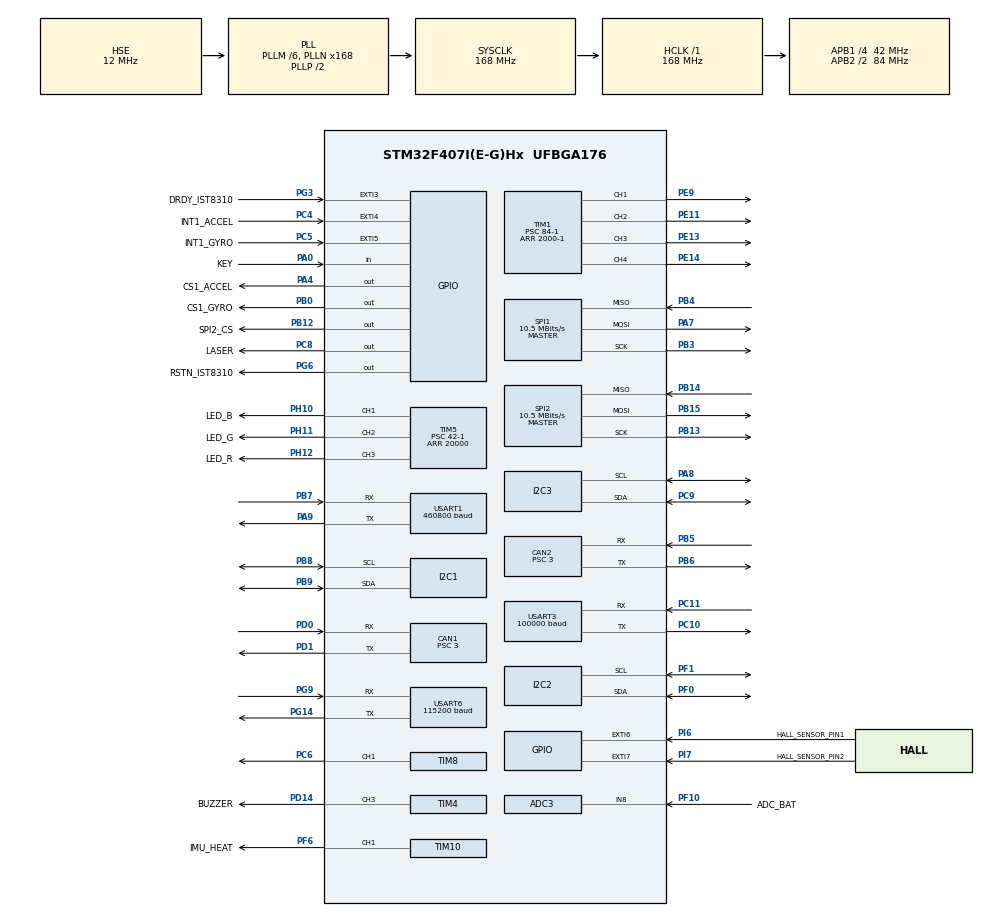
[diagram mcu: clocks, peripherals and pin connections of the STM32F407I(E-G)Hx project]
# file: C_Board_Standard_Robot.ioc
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ADC1.Channel-0\#ChannelRegularConversion=ADC_CHANNEL_TEMPSENSOR
ADC1.ClockPrescaler=ADC_CLOCK_SYNC_PCLK_DIV6
ADC1.NbrOfConversionFlag=1
ADC1.Rank-0\#ChannelRegularConversion=1
ADC1.SamplingTime-0\#ChannelRegularConversion=ADC_SAMPLETIME_3CYCLES
ADC1.master=1
ADC3.Channel-0\#ChannelRegularConversion=ADC_CHANNEL_8
ADC3.ClockPrescaler=ADC_CLOCK_SYNC_PCLK_DIV6
ADC3.NbrOfConversionFlag=1
ADC3.Rank-0\#ChannelRegularConversion=1
ADC3.SamplingTime-0\#ChannelRegularConversion=ADC_SAMPLETIME_3CYCLES
CAN1.BS1=CAN_BS1_10TQ
CAN1.BS2=CAN_BS2_3TQ
CAN1.CalculateTimeQuantum=71.42857142857143
CAN1.Prescaler=3
CAN2.BS1=CAN_BS1_10TQ
CAN2.BS2=CAN_BS2_3TQ
CAN2.CalculateTimeQuantum=71.42857142857143
CAN2.Prescaler=3
Dma.I2C2_TX.2.Direction=DMA_MEMORY_TO_PERIPH
Dma.I2C2_TX.2.FIFOMode=DMA_FIFOMODE_DISABLE
Dma.I2C2_TX.2.Instance=DMA1_Stream7
Dma.I2C2_TX.2.MemDataAlignment=DMA_MDATAALIGN_BYTE
Dma.I2C2_TX.2.MemInc=DMA_MINC_ENABLE
Dma.I2C2_TX.2.Mode=DMA_NORMAL
Dma.I2C2_TX.2.PeriphDataAlignment=DMA_PDATAALIGN_BYTE
Dma.I2C2_TX.2.PeriphInc=DMA_PINC_DISABLE
Dma.I2C2_TX.2.Priority=DMA_PRIORITY_HIGH
Dma.Request0=SPI1_RX
Dma.Request1=SPI1_TX
Dma.Request2=I2C2_TX
Dma.Request3=USART3_RX
Dma.Request4=USART6_TX
Dma.Request5=USART1_TX
Dma.Request6=USART1_RX
Dma.Request7=USART6_RX
Dma.SPI1_RX.0.Direction=DMA_PERIPH_TO_MEMORY
Dma.SPI1_RX.0.FIFOMode=DMA_FIFOMODE_DISABLE
Dma.SPI1_RX.0.Instance=DMA2_Stream2
Dma.SPI1_RX.0.MemDataAlignment=DMA_MDATAALIGN_BYTE
Dma.SPI1_RX.0.MemInc=DMA_MINC_ENABLE
Dma.SPI1_RX.0.Mode=DMA_NORMAL
Dma.SPI1_RX.0.PeriphDataAlignment=DMA_PDATAALIGN_BYTE
Dma.SPI1_RX.0.PeriphInc=DMA_PINC_DISABLE
Dma.SPI1_RX.0.Priority=DMA_PRIORITY_VERY_HIGH
Dma.SPI1_TX.1.Direction=DMA_MEMORY_TO_PERIPH
Dma.SPI1_TX.1.FIFOMode=DMA_FIFOMODE_DISABLE
Dma.SPI1_TX.1.Instance=DMA2_Stream3
Dma.SPI1_TX.1.MemDataAlignment=DMA_MDATAALIGN_BYTE
Dma.SPI1_TX.1.MemInc=DMA_MINC_ENABLE
Dma.SPI1_TX.1.Mode=DMA_NORMAL
Dma.SPI1_TX.1.PeriphDataAlignment=DMA_PDATAALIGN_BYTE
Dma.SPI1_TX.1.PeriphInc=DMA_PINC_DISABLE
Dma.SPI1_TX.1.Priority=DMA_PRIORITY_HIGH
Dma.USART1_RX.6.Direction=DMA_PERIPH_TO_MEMORY
Dma.USART1_RX.6.FIFOMode=DMA_FIFOMODE_DISABLE
Dma.USART1_RX.6.Instance=DMA2_Stream5
Dma.USART1_RX.6.MemDataAlignment=DMA_MDATAALIGN_BYTE
Dma.USART1_RX.6.MemInc=DMA_MINC_ENABLE
Dma.USART1_RX.6.Mode=DMA_CIRCULAR
Dma.USART1_RX.6.PeriphDataAlignment=DMA_PDATAALIGN_BYTE
Dma.USART1_RX.6.PeriphInc=DMA_PINC_DISABLE
Dma.USART1_RX.6.Priority=DMA_PRIORITY_LOW
Dma.USART1_TX.5.Direction=DMA_MEMORY_TO_PERIPH
Dma.USART1_TX.5.FIFOMode=DMA_FIFOMODE_DISABLE
Dma.USART1_TX.5.Instance=DMA2_Stream7
Dma.USART1_TX.5.MemDataAlignment=DMA_MDATAALIGN_BYTE
Dma.USART1_TX.5.MemInc=DMA_MINC_ENABLE
Dma.USART1_TX.5.Mode=DMA_NORMAL
Dma.USART1_TX.5.PeriphDataAlignment=DMA_PDATAALIGN_BYTE
Dma.USART1_TX.5.PeriphInc=DMA_PINC_DISABLE
Dma.USART1_TX.5.Priority=DMA_PRIORITY_MEDIUM
Dma.USART3_RX.3.Direction=DMA_PERIPH_TO_MEMORY
Dma.USART3_RX.3.FIFOMode=DMA_FIFOMODE_DISABLE
Dma.USART3_RX.3.Instance=DMA1_Stream1
Dma.USART3_RX.3.MemDataAlignment=DMA_MDATAALIGN_BYTE
Dma.USART3_RX.3.MemInc=DMA_MINC_ENABLE
Dma.USART3_RX.3.Mode=DMA_CIRCULAR
Dma.USART3_RX.3.PeriphDataAlignment=DMA_PDATAALIGN_BYTE
Dma.USART3_RX.3.PeriphInc=DMA_PINC_DISABLE
Dma.USART3_RX.3.Priority=DMA_PRIORITY_HIGH
Dma.USART6_RX.7.Direction=DMA_PERIPH_TO_MEMORY
Dma.USART6_RX.7.FIFOMode=DMA_FIFOMODE_DISABLE
Dma.USART6_RX.7.Instance=DMA2_Stream1
Dma.USART6_RX.7.MemDataAlignment=DMA_MDATAALIGN_BYTE
Dma.USART6_RX.7.MemInc=DMA_MINC_ENABLE
Dma.USART6_RX.7.Mode=DMA_CIRCULAR
Dma.USART6_RX.7.PeriphDataAlignment=DMA_PDATAALIGN_BYTE
Dma.USART6_RX.7.PeriphInc=DMA_PINC_DISABLE
Dma.USART6_RX.7.Priority=DMA_PRIORITY_LOW
Dma.USART6_TX.4.Direction=DMA_MEMORY_TO_PERIPH
Dma.USART6_TX.4.FIFOMode=DMA_FIFOMODE_DISABLE
Dma.USART6_TX.4.Instance=DMA2_Stream6
Dma.USART6_TX.4.MemDataAlignment=DMA_MDATAALIGN_BYTE
Dma.USART6_TX.4.MemInc=DMA_MINC_ENABLE
Dma.USART6_TX.4.Mode=DMA_NORMAL
Dma.USART6_TX.4.PeriphDataAlignment=DMA_PDATAALIGN_BYTE
Dma.USART6_TX.4.PeriphInc=DMA_PINC_DISABLE
Dma.USART6_TX.4.Priority=DMA_PRIORITY_MEDIUM
FREERTOS.INCLUDE_eTaskGetState=1
FREERTOS.INCLUDE_pcTaskGetTaskName=1
FREERTOS.INCLUDE_uxTaskGetStackHighWaterMark=1
FREERTOS.INCLUDE_vTaskCleanUpResources=1
FREERTOS.INCLUDE_vTaskDelayUntil=1
FREERTOS.INCLUDE_xEventGroupSetBitFromISR=1
FREERTOS.INCLUDE_xQueueGetMutexHolder=1
FREERTOS.INCLUDE_xSemaphoreGetMutexHolder=1
FREERTOS.INCLUDE_xTaskAbortDelay=1
FREERTOS.INCLUDE_xTaskGetCurrentTaskHandle=1
FREERTOS.INCLUDE_xTaskGetHandle=1
FREERTOS.INCLUDE_xTimerPendFunctionCall=1
FREERTOS.Tasks01=GimbalTask,2,512,StartGimbalTask,Default,NULL,Dynamic,NULL,NULL;INSTask,1,512,StartINSTask,Default,NULL,Dynamic,NULL,NULL;DetectTask,-1,512,StartDetectTask,Default,NULL,Dynamic,NULL,NULL;PowerMeasureTas,0,512,StartPowerMeasureTask,Default,NULL,Dynamic,NULL,NULL;UITask,0,512,StartUITask,Default,NULL,Dynamic,NULL,NULL;ChassisTask,1,512,StartChassisTask,Default,NULL,Dynamic,NULL,NULL
FREERTOS.configTOTAL_HEAP_SIZE=24576
I2C1.I2C_Mode=I2C_Fast
I2C2.I2C_Mode=I2C_Fast
I2C3.I2C_Mode=I2C_Fast
IWDG.Prescaler=IWDG_PRESCALER_32
IWDG.Reload=1000
Mcu.Family=STM32F4
Mcu.Name=STM32F407I(E-G)Hx
Mcu.Package=UFBGA176
NVIC.CAN1_RX0_IRQn=true\:6\:0\:true\:false\:true\:true\:true\:true
NVIC.CAN2_RX0_IRQn=true\:6\:0\:true\:false\:true\:true\:true\:true
NVIC.DMA1_Stream1_IRQn=true\:5\:0\:true\:false\:false\:true\:false\:false
NVIC.DMA1_Stream7_IRQn=true\:5\:0\:true\:false\:false\:true\:false\:true
NVIC.DMA2_Stream1_IRQn=true\:0\:0\:false\:false\:true\:true\:false\:true
NVIC.DMA2_Stream2_IRQn=true\:5\:0\:true\:false\:false\:true\:false\:true
NVIC.DMA2_Stream3_IRQn=true\:5\:0\:true\:false\:false\:true\:false\:true
NVIC.DMA2_Stream5_IRQn=true\:0\:0\:false\:false\:true\:true\:false\:true
NVIC.DMA2_Stream6_IRQn=true\:5\:0\:true\:false\:true\:true\:false\:true
NVIC.DMA2_Stream7_IRQn=true\:5\:0\:true\:false\:true\:true\:false\:true
NVIC.EXTI3_IRQn=true\:5\:0\:true\:false\:true\:true\:true\:true
NVIC.EXTI4_IRQn=true\:5\:0\:true\:false\:true\:true\:true\:true
NVIC.EXTI9_5_IRQn=true\:5\:0\:true\:false\:true\:true\:true\:true
NVIC.PriorityGroup=NVIC_PRIORITYGROUP_4
NVIC.TIM2_IRQn=true\:0\:0\:false\:false\:true\:false\:false\:true
NVIC.TimeBase=TIM2_IRQn
NVIC.TimeBaseIP=TIM2
NVIC.USART1_IRQn=true\:0\:0\:false\:false\:true\:false\:true\:true
NVIC.USART3_IRQn=true\:4\:0\:true\:false\:true\:false\:true\:true
NVIC.USART6_IRQn=true\:5\:0\:true\:false\:true\:true\:true\:true
PA0-WKUP.GPIO_Label=KEY
PA0-WKUP.GPIO_PuPd=GPIO_PULLUP
PA0-WKUP.Signal=GPIO_Input
PA13.Mode=Serial_Wire
PA13.Signal=SYS_JTMS-SWDIO
PA14.Mode=Serial_Wire
PA14.Signal=SYS_JTCK-SWCLK
PA4.GPIO_Label=CS1_ACCEL
PA4.GPIO_PuPd=GPIO_PULLUP
PA4.GPIO_Speed=GPIO_SPEED_FREQ_HIGH
PA4.PinState=GPIO_PIN_SET
PA4.Signal=GPIO_Output
PA7.GPIO_PuPd=GPIO_PULLUP
PA7.Mode=Full_Duplex_Master
PA7.Signal=SPI1_MOSI
PA8.Mode=I2C
PA8.Signal=I2C3_SCL
PA9.Mode=Asynchronous
PA9.Signal=USART1_TX
PB0.GPIO_Label=CS1_GYRO
PB0.GPIO_PuPd=GPIO_PULLUP
PB0.GPIO_Speed=GPIO_SPEED_FREQ_HIGH
PB0.PinState=GPIO_PIN_SET
PB0.Signal=GPIO_Output
PB12.GPIO_Label=SPI2_CS
PB12.GPIO_PuPd=GPIO_PULLUP
PB12.GPIO_Speed=GPIO_SPEED_FREQ_MEDIUM
PB12.PinState=GPIO_PIN_SET
PB12.Signal=GPIO_Output
PB13.GPIO_PuPd=GPIO_PULLUP
PB13.Mode=Full_Duplex_Master
PB13.Signal=SPI2_SCK
PB14.GPIO_PuPd=GPIO_PULLUP
PB14.Mode=Full_Duplex_Master
PB14.Signal=SPI2_MISO
PB15.GPIO_PuPd=GPIO_PULLUP
PB15.Mode=Full_Duplex_Master
PB15.Signal=SPI2_MOSI
PB3.GPIO_PuPd=GPIO_PULLUP
PB3.Mode=Full_Duplex_Master
PB3.Signal=SPI1_SCK
PB4.GPIO_PuPd=GPIO_PULLUP
PB4.Mode=Full_Duplex_Master
PB4.Signal=SPI1_MISO
PB5.Mode=Slave
PB5.Signal=CAN2_RX
PB6.Mode=Slave
PB6.Signal=CAN2_TX
PB7.Mode=Asynchronous
PB7.Signal=USART1_RX
PB8.Mode=I2C
PB8.Signal=I2C1_SCL
PB9.Mode=I2C
PB9.Signal=I2C1_SDA
PC10.Mode=Asynchronous
PC10.Signal=USART3_TX
PC11.Mode=Asynchronous
PC11.Signal=USART3_RX
PC4.GPIO_Label=INT1_ACCEL
PC4.GPIO_ModeDefaultEXTI=GPIO_MODE_IT_FALLING
PC4.GPIO_PuPd=GPIO_PULLUP
PC4.Signal=GPXTI4
PC5.GPIO_Label=INT1_GYRO
PC5.GPIO_ModeDefaultEXTI=GPIO_MODE_IT_FALLING
PC5.GPIO_PuPd=GPIO_PULLUP
PC5.Signal=GPXTI5
PC6.GPIO_PuPd=GPIO_PULLUP
PC6.GPIO_Speed=GPIO_SPEED_FREQ_HIGH
PC6.Signal=S_TIM8_CH1
PC8.GPIO_Label=LASER
PC8.Signal=GPIO_Output
PC9.Mode=I2C
PC9.Signal=I2C3_SDA
PD0.Mode=Master
PD0.Signal=CAN1_RX
PD1.Mode=Master
PD1.Signal=CAN1_TX
PD14.GPIO_Label=BUZZER
PD14.GPIO_PuPd=GPIO_PULLUP
PD14.GPIO_Speed=GPIO_SPEED_FREQ_VERY_HIGH
PD14.Signal=S_TIM4_CH3
PE11.GPIO_PuPd=GPIO_PULLUP
PE11.GPIO_Speed=GPIO_SPEED_FREQ_HIGH
PE11.Signal=S_TIM1_CH2
PE13.GPIO_PuPd=GPIO_PULLUP
PE13.GPIO_Speed=GPIO_SPEED_FREQ_HIGH
PE13.Signal=S_TIM1_CH3
PE14.GPIO_PuPd=GPIO_PULLUP
PE14.GPIO_Speed=GPIO_SPEED_FREQ_HIGH
PE14.Signal=S_TIM1_CH4
PE9.GPIO_PuPd=GPIO_PULLUP
PE9.GPIO_Speed=GPIO_SPEED_FREQ_HIGH
PE9.Signal=S_TIM1_CH1
PF0.Mode=I2C
PF0.Signal=I2C2_SDA
PF1.Mode=I2C
PF1.Signal=I2C2_SCL
PF10.GPIO_Label=ADC_BAT
PF10.Mode=IN8
PF10.Signal=ADC3_IN8
PF6.GPIO_Label=IMU_HEAT
PF6.GPIO_PuPd=GPIO_PULLUP
PF6.GPIO_Speed=GPIO_SPEED_FREQ_HIGH
PF6.Signal=S_TIM10_CH1
PG14.Mode=Asynchronous
PG14.Signal=USART6_TX
PG3.GPIO_Label=DRDY_IST8310
PG3.GPIO_ModeDefaultEXTI=GPIO_MODE_IT_FALLING
PG3.GPIO_PuPd=GPIO_PULLUP
PG3.Signal=GPXTI3
PG6.GPIO_Label=RSTN_IST8310
PG6.GPIO_PuPd=GPIO_PULLUP
PG6.GPIO_Speed=GPIO_SPEED_FREQ_MEDIUM
PG6.PinState=GPIO_PIN_SET
PG6.Signal=GPIO_Output
PG9.Mode=Asynchronous
PG9.Signal=USART6_RX
PH0-OSC_IN.Mode=HSE-External-Oscillator
PH0-OSC_IN.Signal=RCC_OSC_IN
PH1-OSC_OUT.Mode=HSE-External-Oscillator
PH1-OSC_OUT.Signal=RCC_OSC_OUT
PH10.GPIO_Label=LED_B
PH10.GPIO_PuPd=GPIO_PULLUP
PH10.GPIO_Speed=GPIO_SPEED_FREQ_HIGH
PH10.Signal=S_TIM5_CH1
PH11.GPIO_Label=LED_G
PH11.GPIO_PuPd=GPIO_PULLUP
PH11.GPIO_Speed=GPIO_SPEED_FREQ_HIGH
PH11.Signal=S_TIM5_CH2
PH12.GPIO_Label=LED_R
PH12.GPIO_PuPd=GPIO_PULLUP
PH12.GPIO_Speed=GPIO_SPEED_FREQ_HIGH
PH12.Signal=S_TIM5_CH3
PI6.GPIO_Label=HALL_SENSOR_PIN1
PI6.Signal=GPXTI6
PI7.GPIO_Label=HALL_SENSOR_PIN2
PI7.Signal=GPXTI7
ProjectManager.HeapSize=0x2000
ProjectManager.StackSize=0x2000
ProjectManager.TargetToolchain=Makefile
RCC.48MHZClocksFreq_Value=48000000
RCC.AHBFreq_Value=168000000
RCC.APB1CLKDivider=RCC_HCLK_DIV4
RCC.APB1Freq_Value=42000000
RCC.APB1TimFreq_Value=84000000
RCC.APB2CLKDivider=RCC_HCLK_DIV2
RCC.APB2Freq_Value=84000000
RCC.APB2TimFreq_Value=168000000
RCC.CortexFreq_Value=168000000
RCC.HCLKFreq_Value=168000000
RCC.HSE_VALUE=12000000
RCC.HSI_VALUE=16000000
RCC.LSE_VALUE=32768
RCC.PLLM=6
RCC.PLLN=168
RCC.PLLQ=7
RCC.PLLSourceVirtual=RCC_PLLSOURCE_HSE
RCC.RCC_RTC_Clock_SourceVirtual=RCC_RTCCLKSOURCE_HSE_DIV30
RCC.RCC_RTC_Clock_Source_FROM_HSE=RCC_RTCCLKSOURCE_HSE_DIV30
RCC.SYSCLKFreq_VALUE=168000000
RCC.SYSCLKSource=RCC_SYSCLKSOURCE_PLLCLK
RCC.VCOOutputFreq_Value=336000000
SH.S_TIM10_CH1.0=TIM10_CH1,PWM Generation1 CH1
SH.S_TIM1_CH1.0=TIM1_CH1,PWM Generation1 CH1
SH.S_TIM1_CH2.0=TIM1_CH2,PWM Generation2 CH2
SH.S_TIM1_CH3.0=TIM1_CH3,PWM Generation3 CH3
SH.S_TIM1_CH4.0=TIM1_CH4,PWM Generation4 CH4
SH.S_TIM4_CH3.0=TIM4_CH3,PWM Generation3 CH3
SH.S_TIM5_CH1.0=TIM5_CH1,PWM Generation1 CH1
SH.S_TIM5_CH2.0=TIM5_CH2,PWM Generation2 CH2
SH.S_TIM5_CH3.0=TIM5_CH3,PWM Generation3 CH3
SH.S_TIM8_CH1.0=TIM8_CH1,PWM Generation1 CH1
SPI1.BaudRatePrescaler=SPI_BAUDRATEPRESCALER_8
SPI1.CLKPhase=SPI_PHASE_2EDGE
SPI1.CLKPolarity=SPI_POLARITY_HIGH
SPI1.CalculateBaudRate=10.5 MBits/s
SPI1.Direction=SPI_DIRECTION_2LINES
SPI1.Mode=SPI_MODE_MASTER
SPI1.VirtualType=VM_MASTER
SPI2.BaudRatePrescaler=SPI_BAUDRATEPRESCALER_4
SPI2.CLKPhase=SPI_PHASE_2EDGE
SPI2.CLKPolarity=SPI_POLARITY_HIGH
SPI2.CalculateBaudRate=10.5 MBits/s
SPI2.Direction=SPI_DIRECTION_2LINES
SPI2.Mode=SPI_MODE_MASTER
SPI2.VirtualType=VM_MASTER
TIM1.Channel-PWM\ Generation1\ CH1=TIM_CHANNEL_1
TIM1.Channel-PWM\ Generation2\ CH2=TIM_CHANNEL_2
TIM1.Channel-PWM\ Generation3\ CH3=TIM_CHANNEL_3
TIM1.Channel-PWM\ Generation4\ CH4=TIM_CHANNEL_4
TIM1.Period=2000-1
TIM1.Prescaler=84-1
TIM1.Pulse-PWM\ Generation1\ CH1=1000
TIM1.Pulse-PWM\ Generation2\ CH2=1000
TIM1.Pulse-PWM\ Generation3\ CH3=1000
TIM1.Pulse-PWM\ Generation4\ CH4=1000
TIM10.Channel=TIM_CHANNEL_1
TIM10.Period=2000-1
TIM10.Prescaler=84-1
TIM3.Period=8399
TIM4.Channel-PWM\ Generation3\ CH3=TIM_CHANNEL_3
TIM4.Period=20000-1
TIM4.Prescaler=42-1
TIM5.Channel-PWM\ Generation1\ CH1=TIM_CHANNEL_1
TIM5.Channel-PWM\ Generation2\ CH2=TIM_CHANNEL_2
TIM5.Channel-PWM\ Generation3\ CH3=TIM_CHANNEL_3
TIM5.Period=20000
TIM5.Prescaler=42-1
TIM8.Channel-PWM\ Generation1\ CH1=TIM_CHANNEL_1
TIM8.Period=20000-1
TIM8.Prescaler=89-1
TIM8.Pulse-PWM\ Generation1\ CH1=1000
USART1.BaudRate=460800
USART1.VirtualMode=VM_ASYNC
USART3.BaudRate=100000
USART3.Parity=PARITY_EVEN
USART3.VirtualMode=VM_ASYNC
USART6.BaudRate=115200
USART6.VirtualMode=VM_ASYNC
VP_ADC1_TempSens_Input.Mode=IN-TempSens
VP_ADC1_Vref_Input.Mode=IN-Vrefint
VP_FREERTOS_VS_CMSIS_V1.Mode=CMSIS_V1
VP_IWDG_VS_IWDG.Mode=IWDG_Activate
VP_SYS_VS_tim2.Mode=TIM2
VP_TIM10_VS_ClockSourceINT.Mode=Enable_Timer
VP_TIM1_VS_ClockSourceINT.Mode=Internal
VP_TIM3_VS_ClockSourceINT.Mode=Internal
VP_TIM4_VS_ClockSourceINT.Mode=Internal
VP_TIM5_VS_ClockSourceINT.Mode=Internal
VP_TIM8_VS_ClockSourceINT.Mode=Internal
board=custom

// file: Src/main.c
/* USER CODE BEGIN Header */
/**
 ******************************************************************************
 * @file           : main.c
 * @brief          : Main program body
 ******************************************************************************
 * @attention
 *
 * <h2><center>&copy; Copyright (c) 2021 STMicroelectronics.
 * All rights reserved.</center></h2>
 *
 * This software component is licensed by ST under Ultimate Liberty license
 * SLA0044, the "License"; You may not use this file except in compliance with
 * the License. You may obtain a copy of the License at:
 *                             www.st.com/SLA0044
 *
 ******************************************************************************
 */
/* USER CODE END Header */
#include "main.h"
#include "cmsis_os.h"
#include "adc.h"
#include "can.h"
#include "dma.h"
#include "i2c.h"
#include "iwdg.h"
#include "spi.h"
#include "tim.h"
#include "usart.h"
#include "gpio.h"

/* USER CODE BEGIN Includes */
#include "includes.h"
/* USER CODE END Includes */

/* USER CODE BEGIN PV */
uint32_t timeStamp[50] = {0};
/* USER CODE END PV */

void SystemClock_Config(void);
void MX_FREERTOS_Init(void);

int main(void)
{

  /* MCU Configuration--------------------------------------------------------*/

  /* Reset of all peripherals, Initializes the Flash interface and the Systick. */
  HAL_Init();

  /* Configure the system clock */
  SystemClock_Config();

  /* Initialize all configured peripherals */
  MX_GPIO_Init();
  MX_DMA_Init();
  MX_ADC1_Init();
  MX_ADC3_Init();
  MX_CAN1_Init();
  MX_CAN2_Init();
  MX_I2C1_Init();
  MX_SPI1_Init();
  MX_TIM4_Init();
  MX_TIM5_Init();
  MX_USART3_UART_Init();
  MX_TIM8_Init();
  MX_I2C2_Init();
  MX_I2C3_Init();
  MX_SPI2_Init();
  MX_TIM1_Init();
  MX_TIM3_Init();
  MX_TIM10_Init();
  MX_USART1_UART_Init();
  MX_USART6_UART_Init();
  //  MX_IWDG_Init();
  /* USER CODE BEGIN 2 */
  DWT_Init(168); // DWT Init
  HAL_Delay(800);
  HAL_IWDG_Refresh(&hiwdg);
  while (BMI088_init(&hspi1) != BMI088_NO_ERROR)
    ;                          // BMI088 Init

  Remote_Control_Init(&huart3); // Remote Control Init

  CAN_Device_Init();           // Can Init
  Judge_Control_Init(&huart6); // Judge Init
  init_vrefint_reciprocal();   /*CAP*/
  /* USER CODE END 2 */

  /* Call init function for freertos objects (in freertos.c) */
  MX_FREERTOS_Init(); /*操作系统初始化*/
  /* Start scheduler */
  osKernelStart(); /*操作系统运行*/

  /* We should never get here as control is now taken by the scheduler */
  /* Infinite loop */
  while (1)
  {

  }
}

void SystemClock_Config(void)
{
  RCC_OscInitTypeDef RCC_OscInitStruct = {0};
  RCC_ClkInitTypeDef RCC_ClkInitStruct = {0};

  /** Configure the main internal regulator output voltage
   */
  __HAL_RCC_PWR_CLK_ENABLE();
  __HAL_PWR_VOLTAGESCALING_CONFIG(PWR_REGULATOR_VOLTAGE_SCALE1);
  /** Initializes the RCC Oscillators according to the specified parameters
   * in the RCC_OscInitTypeDef structure.
   */
  RCC_OscInitStruct.OscillatorType = RCC_OSCILLATORTYPE_LSI | RCC_OSCILLATORTYPE_HSE;
  RCC_OscInitStruct.HSEState = RCC_HSE_ON;
  RCC_OscInitStruct.LSIState = RCC_LSI_ON;
  RCC_OscInitStruct.PLL.PLLState = RCC_PLL_ON;
  RCC_OscInitStruct.PLL.PLLSource = RCC_PLLSOURCE_HSE;
  RCC_OscInitStruct.PLL.PLLM = 6;
  RCC_OscInitStruct.PLL.PLLN = 168;
  RCC_OscInitStruct.PLL.PLLP = RCC_PLLP_DIV2;
  RCC_OscInitStruct.PLL.PLLQ = 7;
  if (HAL_RCC_OscConfig(&RCC_OscInitStruct) != HAL_OK)
  {
    Error_Handler();
  }
  /** Initializes the CPU, AHB and APB buses clocks
   */
  RCC_ClkInitStruct.ClockType = RCC_CLOCKTYPE_HCLK | RCC_CLOCKTYPE_SYSCLK | RCC_CLOCKTYPE_PCLK1 | RCC_CLOCKTYPE_PCLK2;
  RCC_ClkInitStruct.SYSCLKSource = RCC_SYSCLKSOURCE_PLLCLK;
  RCC_ClkInitStruct.AHBCLKDivider = RCC_SYSCLK_DIV1;
  RCC_ClkInitStruct.APB1CLKDivider = RCC_HCLK_DIV4;
  RCC_ClkInitStruct.APB2CLKDivider = RCC_HCLK_DIV2;

  if (HAL_RCC_ClockConfig(&RCC_ClkInitStruct, FLASH_LATENCY_5) != HAL_OK)
  {
    Error_Handler();
  }
}

/* USER CODE BEGIN 4 */
void USER_UART_RxIdleCallback(UART_HandleTypeDef *huart)
{
    if (huart == remote_control.RC_USART)
    {
        __HAL_DMA_DISABLE(huart->hdmarx);

        Callback_RC_Handle(&remote_control, sbus_rx_buf);

        huart->hdmarx->Instance->NDTR = SBUS_RX_BUF_NUM;
        __HAL_DMA_ENABLE(huart->hdmarx);
    }
}
/* USER CODE END 4 */

void HAL_TIM_PeriodElapsedCallback(TIM_HandleTypeDef *htim)
{
  if (htim->Instance == TIM2)
  {
    HAL_IncTick();
  }
}

void Error_Handler(void)
{
}

/************************ (C) COPYRIGHT STMicroelectronics *****END OF FILE****/

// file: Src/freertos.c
#include "FreeRTOS.h"
#include "task.h"
#include "main.h"
#include "cmsis_os.h"

#include "includes.h"
#include "chassis_task.h"

extern uint32_t resetCount; // 引用来自 detect_task.c 的复位计数器

osThreadId INSTaskHandle;
osThreadId DetectTaskHandle;
osThreadId ChassisTaskHandle;

void StartINSTask(void const * argument);     /* 姿态解算任务 (用于无头模式补偿) */
void StartDetectTask(void const * argument);  /* 离线检测看门狗任务 */
void StartChassisTask(void const * argument); /* 底盘核心控制任务 */

void MX_FREERTOS_Init(void);

/* GetIdleTaskMemory prototype (linked to static allocation support) */
void vApplicationGetIdleTaskMemory( StaticTask_t **ppxIdleTaskTCBBuffer, StackType_t **ppxIdleTaskStackBuffer, uint32_t *pulIdleTaskStackSize );

/* GetTimerTaskMemory prototype (linked to static allocation support) */
void vApplicationGetTimerTaskMemory( StaticTask_t **ppxTimerTaskTCBBuffer, StackType_t **ppxTimerTaskStackBuffer, uint32_t *pulTimerTaskStackSize );

/* USER CODE BEGIN GET_IDLE_TASK_MEMORY */
static StaticTask_t xIdleTaskTCBBuffer;
static StackType_t xIdleStack[configMINIMAL_STACK_SIZE];

void vApplicationGetIdleTaskMemory(StaticTask_t **ppxIdleTaskTCBBuffer, StackType_t **ppxIdleTaskStackBuffer, uint32_t *pulIdleTaskStackSize)
{
  *ppxIdleTaskTCBBuffer = &xIdleTaskTCBBuffer;
  *ppxIdleTaskStackBuffer = &xIdleStack[0];
  *pulIdleTaskStackSize = configMINIMAL_STACK_SIZE;
}
/* USER CODE END GET_IDLE_TASK_MEMORY */

/* USER CODE BEGIN GET_TIMER_TASK_MEMORY */
static StaticTask_t xTimerTaskTCBBuffer;
static StackType_t xTimerStack[configTIMER_TASK_STACK_DEPTH];

void vApplicationGetTimerTaskMemory(StaticTask_t **ppxTimerTaskTCBBuffer, StackType_t **ppxTimerTaskStackBuffer, uint32_t *pulTimerTaskStackSize)
{
  *ppxTimerTaskTCBBuffer = &xTimerTaskTCBBuffer;
  *ppxTimerTaskStackBuffer = &xTimerStack[0];
  *pulTimerTaskStackSize = configTIMER_TASK_STACK_DEPTH;
}
/* USER CODE END GET_TIMER_TASK_MEMORY */

void MX_FREERTOS_Init(void) {
  /* 创建传感器姿态解算任务 (优先级: 高) */
  osThreadDef(INSTask, StartINSTask, osPriorityAboveNormal, 0, 512);
  INSTaskHandle = osThreadCreate(osThread(INSTask), NULL);

  /* 创建离线检测任务 (优先级: 低) */
  osThreadDef(DetectTask, StartDetectTask, osPriorityBelowNormal, 0, 512);
  DetectTaskHandle = osThreadCreate(osThread(DetectTask), NULL);

  /* 创建底盘控制主任务 (优先级: 高) */
  osThreadDef(ChassisTask, StartChassisTask, osPriorityAboveNormal, 0, 512);
  ChassisTaskHandle = osThreadCreate(osThread(ChassisTask), NULL);
}

/**
* @brief 姿态解算任务实现 (用于获取底盘相对Yaw轴实现无头平移)
*/
void StartINSTask(void const * argument)
{
  INS_Init();
  for (;;)
  {
     // 操作手长按 R + E 键可手动硬重启单片机 (保留靶车急救功能)
     if ((remote_control.key_code & Key_R) && (remote_control.key_code & Key_E))
     {
       resetCount++;
       if (resetCount * INS_TASK_PERIOD > 1500)
       {
         __set_FAULTMASK(1);
         HAL_NVIC_SystemReset();
       }
     }
     else
       resetCount = 0;

    INS_Task();
    osDelay(INS_TASK_PERIOD); // 默认 1ms
  }
}

/**
* @brief 离线检测与看门狗任务实现
*/
void StartDetectTask(void const * argument)
{
  Detect_Task_Init();
  for (;;)
  {
    HAL_IWDG_Refresh(&hiwdg); // 喂狗，防止硬件复位

    // 操作手长按 F + E 键硬重启
    if ((remote_control.key_code & Key_F) && (remote_control.key_code & Key_E))
    {
      resetCount++;
      if (resetCount * DETECT_TASK_PERIOD > 1500)
      {
        __set_FAULTMASK(1);
        HAL_NVIC_SystemReset();
      }
    }
    else
      resetCount = 0;

    Detect_Task();
    osDelay(DETECT_TASK_PERIOD); // 默认 10ms
  }
}

/**
* @brief 底盘核心控制任务实现
*/
void StartChassisTask(void const * argument)
{
  osDelay(1000); // 等待电调与传感器初始化稳定
  Chassis_Init();

  for (;;)
  {
    Chassis_Control();

    // 靶车无云台，直接移除原版代码中与 hcan2 通讯的 Send_Robot_Info

    osDelay(CHASSIS_TASK_PERIOD); // 默认 2ms，保证 500Hz 控制频率
  }
}
